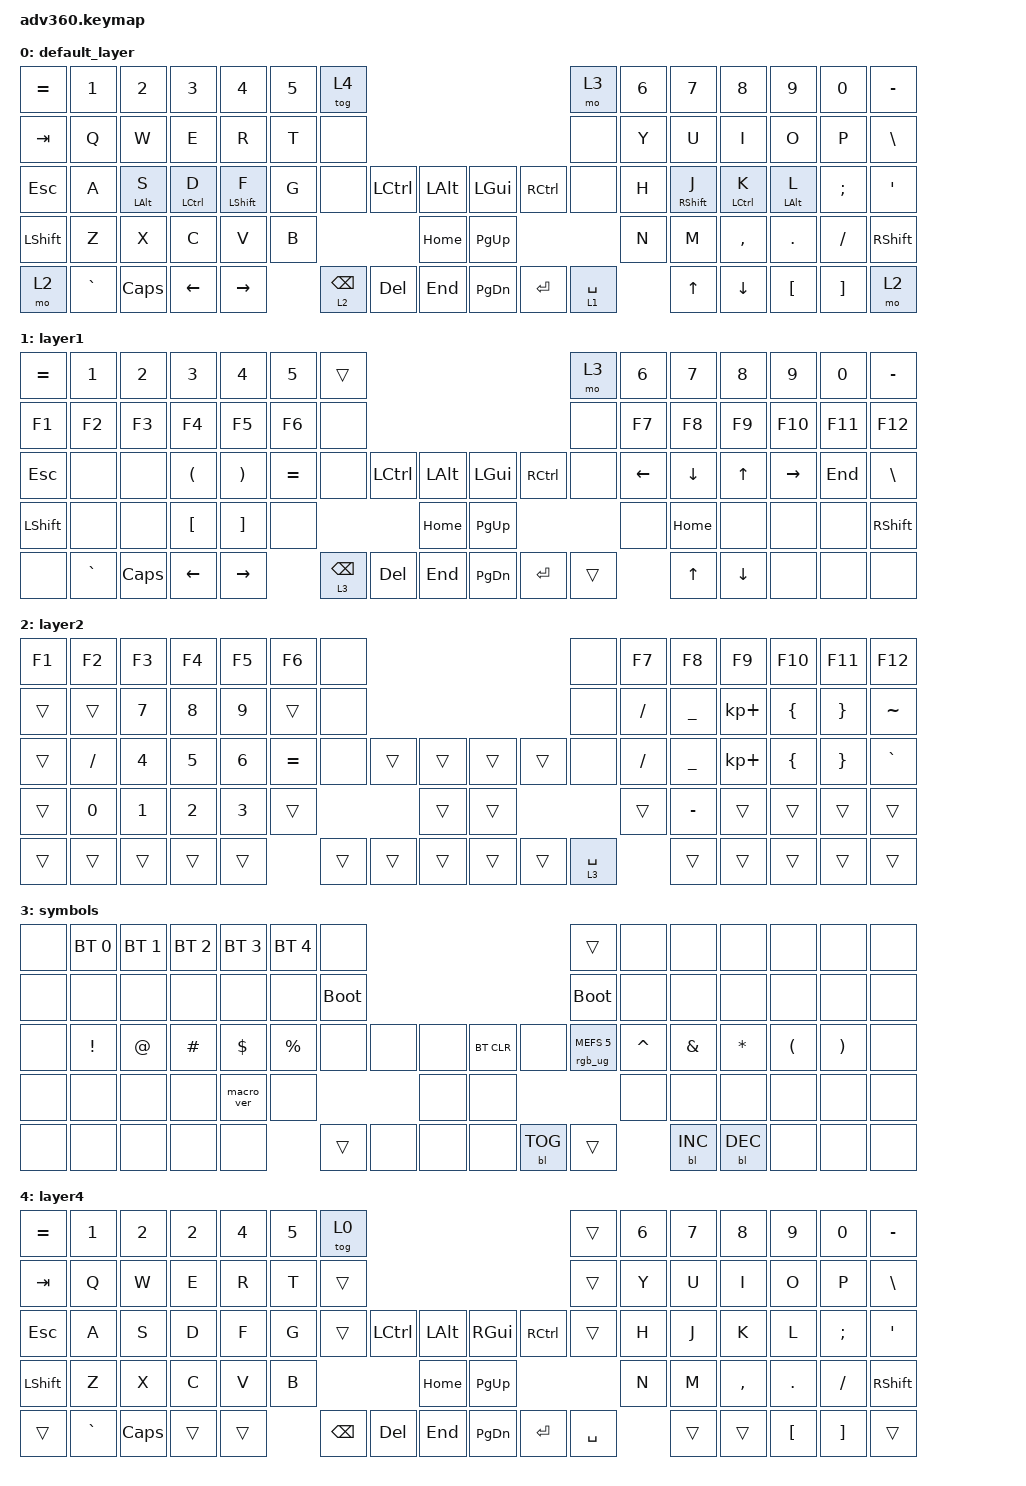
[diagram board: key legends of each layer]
#include <behaviors.dtsi>
#include <dt-bindings/zmk/backlight.h>
#include <dt-bindings/zmk/bt.h>
#include <dt-bindings/zmk/keys.h>
#include <dt-bindings/zmk/rgb.h>

/ {
    behaviors {
        #include "macros.dtsi"
      #include "version.dtsi"
      #ifndef VERSION_MACRO

        macro_ver: macro_ver {
            compatible = "zmk,behavior-macro";
            label = "macro_version";
            #binding-cells = <0>;
            bindings = <&kp RET>;
        };

        #endif

        hm: homerow_mods {
            compatible = "zmk,behavior-hold-tap";
            label = "HOMEROW_MODS";
            #binding-cells = <2>;
            tapping-term-ms = <200>;
            flavor = "tap-preferred";
            bindings = <&kp>, <&kp>;
        };
    };

    macros {
    };

    keymap {
        compatible = "zmk,keymap";

        default_layer {
            bindings = <
&kp EQUAL  &kp N1     &kp N2          &kp N3       &kp N4            &kp N5  &tog 4                                                          &mo 3        &kp N6  &kp N7             &kp N8       &kp N9          &kp N0    &kp MINUS
&kp TAB    &kp Q      &kp W           &kp E        &kp R             &kp T   &none                                                           &none        &kp Y   &kp U              &kp I        &kp O           &kp P     &kp BSLH
&kp ESC    &kp A      &hm LEFT_ALT S  &hm LCTRL D  &hm LEFT_SHIFT F  &kp G   &none            &kp LCTRL  &kp LALT      &kp LGUI   &kp RCTRL  &none        &kp H   &hm RIGHT_SHIFT J  &hm LCTRL K  &hm LEFT_ALT L  &kp SEMI  &kp SQT
&kp LSHFT  &kp Z      &kp X           &kp C        &kp V             &kp B                               &kp HOME      &kp PG_UP                          &kp N   &kp M              &kp COMMA    &kp DOT         &kp FSLH  &kp RSHFT
&mo 2      &kp GRAVE  &kp CAPS        &kp LEFT     &kp RIGHT                 &lt 2 BACKSPACE  &kp DEL    &kp END       &kp PG_DN  &kp ENTER  &lt 1 SPACE          &kp UP             &kp DOWN     &kp LBKT        &kp RBKT  &mo 2
            >;
        };

        layer1 {
            bindings = <
&kp EQUAL  &kp NUMBER_1  &kp N2    &kp N3                &kp N4                 &kp N5     &trans                                                          &mo 3   &kp N6    &kp N7    &kp N8        &kp N9     &kp N0   &kp MINUS
&kp F1     &kp F2        &kp F3    &kp F4                &kp F5                 &kp F6     &none                                                           &none   &kp F7    &kp F8    &kp F9        &kp F10    &kp F11  &kp F12
&kp ESC    &none         &none     &kp LEFT_PARENTHESIS  &kp RIGHT_PARENTHESIS  &kp EQUAL  &none            &kp LCTRL  &kp LALT      &kp LGUI   &kp RCTRL  &none   &kp LEFT  &kp DOWN  &kp UP_ARROW  &kp RIGHT  &kp END  &kp BACKSLASH
&kp LSHFT  &none         &none     &kp LEFT_BRACKET      &kp RIGHT_BRACKET      &none                                  &kp HOME      &kp PG_UP                     &none     &kp HOME  &none         &none      &none    &kp RSHFT
&none      &kp GRAVE     &kp CAPS  &kp LEFT              &kp RIGHT                         &lt 3 BACKSPACE  &kp DEL    &kp END       &kp PG_DN  &kp ENTER  &trans            &kp UP    &kp DOWN      &none      &none    &none
            >;
        };

        layer2 {
            bindings = <
&kp F1  &kp F2        &kp F3        &kp F4        &kp F5        &kp F6     &none                                       &none        &kp F7     &kp F8          &kp F9       &kp F10         &kp F11          &kp F12
&trans  &trans        &kp NUMBER_7  &kp NUMBER_8  &kp NUMBER_9  &trans     &none                                       &none        &kp SLASH  &kp UNDERSCORE  &kp KP_PLUS  &kp LEFT_BRACE  &kp RIGHT_BRACE  &kp TILDE
&trans  &kp SLASH     &kp NUMBER_4  &kp NUMBER_5  &kp NUMBER_6  &kp EQUAL  &none   &trans  &trans      &trans  &trans  &none        &kp SLASH  &kp UNDERSCORE  &kp KP_PLUS  &kp LEFT_BRACE  &kp RIGHT_BRACE  &kp GRAVE
&trans  &kp NUMBER_0  &kp NUMBER_1  &kp NUMBER_2  &kp NUMBER_3  &trans                     &trans      &trans                       &trans     &kp MINUS       &trans       &trans          &trans           &trans
&trans  &trans        &trans        &trans        &trans                   &trans  &trans  &trans      &trans  &trans  &lt 3 SPACE             &trans          &trans       &trans          &trans           &trans
            >;
        };

        symbols {
            bindings = <
&none  &bt BT_SEL 0     &bt BT_SEL 1  &bt BT_SEL 2  &bt BT_SEL 3  &bt BT_SEL 4  &none                                                  &trans                  &none      &none          &none         &none                 &none                  &none
&none  &none            &none         &none         &none         &none         &bootloader                                            &bootloader             &none      &none          &none         &none                 &none                  &none
&none  &kp EXCLAMATION  &kp AT_SIGN   &kp POUND     &kp DOLLAR    &kp PERCENT   &none        &none  &none      &bt BT_CLR  &none       &rgb_ug RGB_MEFS_CMD 5  &kp CARET  &kp AMPERSAND  &kp ASTERISK  &kp LEFT_PARENTHESIS  &kp RIGHT_PARENTHESIS  &none
&none  &none            &none         &none         &macro_ver    &none                             &none      &none                                           &none      &none          &none         &none                 &none                  &none
&none  &none            &none         &none         &none                       &trans       &none  &none      &none       &bl BL_TOG  &trans                             &bl BL_INC     &bl BL_DEC    &none                 &none                  &none
            >;
        };

        layer4 {
            bindings = <
&kp EQUAL  &kp N1     &kp N2    &kp N2  &kp N4  &kp N5  &tog 0                                                        &trans     &kp N6  &kp N7  &kp N8     &kp N9    &kp N0    &kp MINUS
&kp TAB    &kp Q      &kp W     &kp E   &kp R   &kp T   &trans                                                        &trans     &kp Y   &kp U   &kp I      &kp O     &kp P     &kp BSLH
&kp ESC    &kp A      &kp S     &kp D   &kp F   &kp G   &trans    &kp LCTRL   &kp LALT      &kp RGUI       &kp RCTRL  &trans     &kp H   &kp J   &kp K      &kp L     &kp SEMI  &kp APOS
&kp LSHFT  &kp Z      &kp X     &kp C   &kp V   &kp B                         &kp HOME      &kp PAGE_UP                          &kp N   &kp M   &kp COMMA  &kp DOT   &kp FSLH  &kp RSHFT
&trans     &kp GRAVE  &kp CAPS  &trans  &trans          &kp BSPC  &kp DELETE  &kp END       &kp PAGE_DOWN  &kp ENTER  &kp SPACE          &trans  &trans     &kp LBKT  &kp RBKT  &trans
            >;
        };
    };
};
